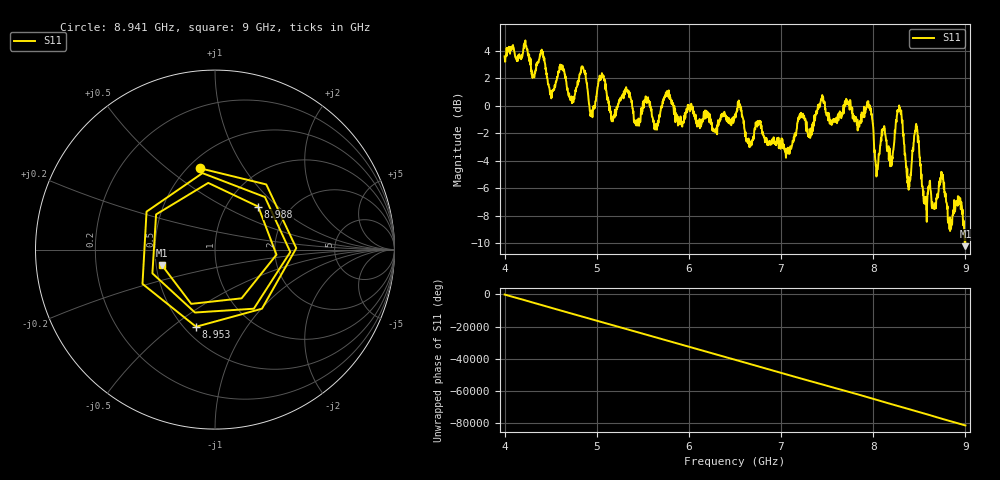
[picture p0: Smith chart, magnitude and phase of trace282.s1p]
! Created with skrf 1.8.0 (http://scikit-rf.org).
# Hz S RI R 50.0
!freq ReS11 ImS11
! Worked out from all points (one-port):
!   1601 points, 4 GHz to 9 GHz, reference 50 ohm
!   lowest |S11| = -10.2 dB at 9 GHz (marker M1), VSWR 1.89, Z = 26.8 - j5.07 ohm
!   |S11| at or under -10 dB: 8.993372 GHz to 8.995021 GHz (1.649 MHz wide, 0.0183 % of centre); 8.998929 GHz to end of sweep
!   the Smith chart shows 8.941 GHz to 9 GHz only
!   S11 on the Smith chart (normalised r, x): 8.941 GHz: 0.57, +0.66; 8.953 GHz: 0.57, -0.61; 8.988 GHz: 1.40, +0.76; 9 GHz: 0.54, -0.10
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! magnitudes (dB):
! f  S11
! 4 GHz  3.6
! 4.406 GHz  3.9
! 4.512 GHz  0.6
! 4.625 GHz  2.6
! 4.731 GHz  0.2
! 4.856 GHz  2.6
! 4.944 GHz  -0.3
! 5.05 GHz  2.2
! 5.169 GHz  -0.9
! 5.25 GHz  0.4
! 5.875 GHz  -0.7
! 6.5 GHz  -0.6
! 7.125 GHz  -2.5
! 7.434 GHz  0.4
! 7.75 GHz  0.4
! 7.959 GHz  0.1
! 8.044 GHz  -4.7
! 8.109 GHz  -1.7
! 8.2 GHz  -4.1
! 8.284 GHz  -0.2
! 8.375 GHz  -5.4
! 8.469 GHz  -1.6
! 8.562 GHz  -6.7
! 8.738 GHz  -4.8
! 8.941 GHz  -6.7
! 8.953 GHz  -7.1
! 8.988 GHz  -9.4
! 9 GHz  -10.2
